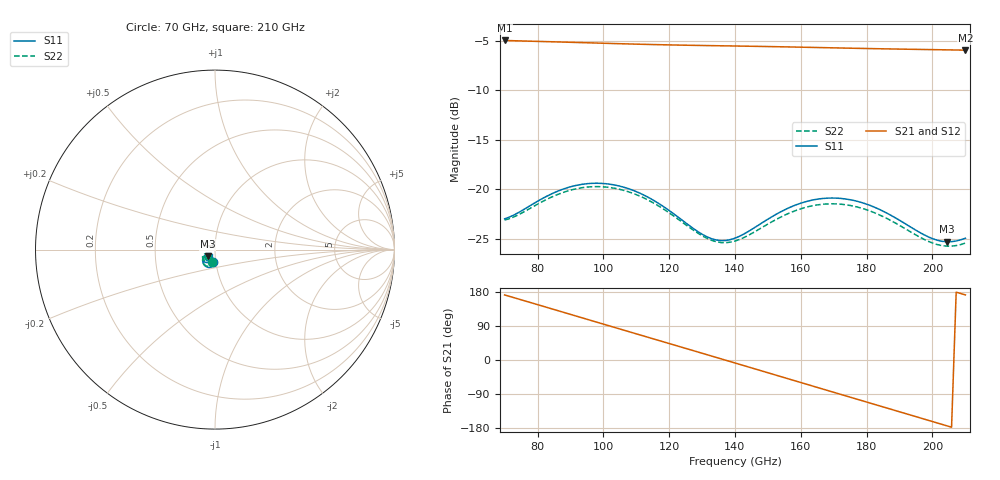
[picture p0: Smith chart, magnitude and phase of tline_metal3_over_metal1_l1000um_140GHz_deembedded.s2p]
! Created with skrf 2.0.1 (http://scikit-rf.org).
# GHz S DB R 50.0
!freq dBS11 angS11 dBS21 angS21 dBS12 angS12 dBS22 angS22
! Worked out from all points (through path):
!   101 points, 70 GHz to 210 GHz, reference 50 ohm
!   highest |S21| = -4.99 dB at 70 GHz (marker M1); lowest = -6.0 dB at 210 GHz (marker M2)
!   group delay of S21, straight-line fit = 7.14 ps
!   lowest |S11| = -25.3 dB at 204.4 GHz (marker M3), VSWR 1.11, Z = 46 - j3.39 ohm
!   |S11| at or under -10 dB: start of sweep to end of sweep
!   |S22| runs from -25.7 to -19.7 dB; largest |S21 - S12| = 5.8e-14
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70  -22.98 -101.1  -4.99 171.7  -4.99 171.7  -23.11 -104.6
75.6  -22.09 -96.4  -5.04 157.4  -5.04 157.4  -22.33 -99.9
81.2  -20.99 -97.3  -5.09 143.1  -5.09 143.1  -21.30 -100.7
88.2  -19.94 -103.7  -5.16 125.1  -5.16 125.1  -20.28 -106.9
93.8  -19.49 -111.0  -5.21 110.7  -5.21 110.7  -19.83 -114.2
99.4  -19.41 -119.1  -5.26 96.3  -5.26 96.3  -19.75 -122.3
105  -19.69 -127.1  -5.32 81.9  -5.32 81.9  -20.01 -130.4
110.6  -20.32 -134.3  -5.36 67.5  -5.36 67.5  -20.63 -137.8
117.6  -21.60 -141.0  -5.42 49.6  -5.42 49.6  -21.86 -144.8
128.8  -24.29 -139.9  -5.49 20.9  -5.49 20.9  -24.45 -145.0
134.4  -25.13 -132.0  -5.52 6.5  -5.52 6.5  -25.30 -138.2
140  -24.94 -122.7  -5.55 -7.9  -5.55 -7.9  -25.23 -129.8
151.2  -22.78 -116.6  -5.61 -36.8  -5.61 -36.8  -23.29 -123.9
158.2  -21.62 -120.9  -5.65 -54.8  -5.65 -54.8  -22.18 -128.1
163.8  -21.07 -126.4  -5.69 -69.3  -5.69 -69.3  -21.65 -133.6
169.4  -20.89 -132.8  -5.73 -83.7  -5.73 -83.7  -21.47 -140.0
175  -21.06 -139.1  -5.77 -98.1  -5.77 -98.1  -21.64 -146.3
180.6  -21.58 -144.6  -5.80 -112.5  -5.80 -112.5  -22.14 -152.0
187.6  -22.67 -149.1  -5.85 -130.5  -5.85 -130.5  -23.20 -156.6
196  -24.34 -147.8  -5.89 -152.1  -5.89 -152.1  -24.81 -155.8
204.4  -25.30 -137.5  -5.94 -173.8  -5.94 -173.8  -25.74 -146.6
210  -24.94 -129.6  -5.97 171.8  -5.97 171.8  -25.43 -139.4
